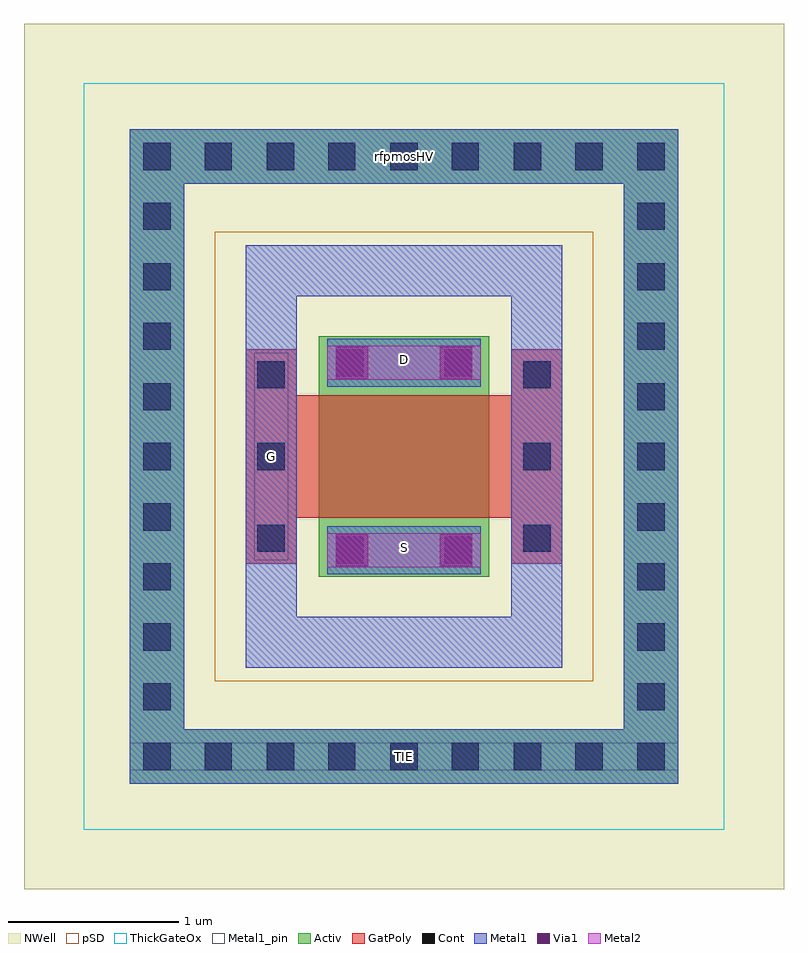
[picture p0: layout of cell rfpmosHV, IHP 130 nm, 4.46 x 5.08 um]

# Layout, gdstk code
import gdstk
lib = gdstk.Library(unit=1e-6, precision=1e-09)
def R(c, l, rs):  # rectangles x0, y0, x1, y1
    for r in rs: c.add(gdstk.rectangle(r[:2], r[2:], *l))
def A(c, l, x, y, w, h, nx, ny, dx, dy):  # array of equal rectangles
    R(c, l, [(x+i*dx, y+j*dy, x+i*dx+w, y+j*dy+h) for i in range(nx) for j in range(ny)])
def P(c, l, *ps):  # polygons
    for p in ps: c.add(gdstk.Polygon(p, *l))
Activ = (1, 0)
GatPoly = (5, 0)
Cont = (6, 0)
Metal1 = (8, 0)
Metal1_pin = (8, 2)
Metal2 = (10, 0)
pSD = (14, 0)
Via1 = (19, 0)
NWell = (31, 0)
ThickGateOx = (44, 0)

rfpmoshv = lib.new_cell('rfpmosHV')
R(rfpmoshv, Activ, [(1.73,1.835,2.73,3.245)])
P(rfpmoshv, Activ, [(0.62,0.62),(0.62,4.46),(3.52,4.46),(3.52,4.14),(0.94,4.14),(0.94,0.94),(3.52,0.94),(3.52,4.46),(3.84,4.46),(3.84,0.62)])
P(rfpmoshv, GatPoly, [(1.3,1.91),(1.3,3.17),(1.6,3.17),(1.6,2.9),(2.86,2.9),(2.86,3.17),(3.16,3.17),(3.16,1.91),(2.86,1.91),(2.86,2.18),(1.6,2.18),(1.6,1.91)])
A(rfpmoshv, Cont, 0.7, 0.7, 0.16, 0.16, 1, 3, 0, 0.35)
A(rfpmoshv, Cont, 3.6, 0.7, 0.16, 0.16, 1, 3, 0, 0.35)
A(rfpmoshv, Cont, 1.37, 1.98, 0.16, 0.16, 1, 3, 0, 0.48)
A(rfpmoshv, Cont, 2.93, 1.98, 0.16, 0.16, 1, 3, 0, 0.48)
R(rfpmoshv, Cont, [(1.06,0.7,1.22,0.86), (1.425,0.7,1.585,0.86), (1.785,0.7,1.945,0.86), (2.15,0.7,2.31,0.86), (2.51,0.7,2.67,0.86), (2.875,0.7,3.035,0.86), (3.235,0.7,3.395,0.86), (0.7,1.755,0.86,1.915), (3.6,1.755,3.76,1.915), (1.83,1.91,1.99,2.07), (2.47,1.91,2.63,2.07), (0.7,2.105,0.86,2.265), (3.6,2.105,3.76,2.265), (0.7,2.46,0.86,2.62), (3.6,2.46,3.76,2.62), (0.7,2.81,0.86,2.97), (3.6,2.81,3.76,2.97), (1.83,3.01,1.99,3.17), (2.47,3.01,2.63,3.17), (0.7,3.165,0.86,3.325), (3.6,3.165,3.76,3.325), (0.7,3.515,0.86,3.675), (3.6,3.515,3.76,3.675), (0.7,3.87,0.86,4.03), (3.6,3.87,3.76,4.03), (0.7,4.22,0.86,4.38), (1.06,4.22,1.22,4.38), (1.425,4.22,1.585,4.38), (1.785,4.22,1.945,4.38), (2.15,4.22,2.31,4.38), (2.51,4.22,2.67,4.38), (2.875,4.22,3.035,4.38), (3.235,4.22,3.395,4.38), (3.6,4.22,3.76,4.38)])
R(rfpmoshv, Metal1, [(1.78,1.85,2.68,2.13), (1.35,1.93,1.55,3.15), (2.91,1.93,3.11,3.15), (1.78,2.95,2.68,3.23)])
P(rfpmoshv, Metal1, [(0.62,0.62),(0.62,4.46),(3.52,4.46),(3.52,4.14),(0.94,4.14),(0.94,0.94),(3.52,0.94),(3.52,4.46),(3.84,4.46),(3.84,0.62)],
  [(1.3,1.3),(1.3,3.78),(2.86,3.78),(2.86,3.48),(1.6,3.48),(1.6,1.6),(2.86,1.6),(2.86,3.78),(3.16,3.78),(3.16,1.3)])
R(rfpmoshv, Metal1_pin, [(0.62,0.7,3.84,0.86), (1.78,1.85,2.68,2.13), (1.35,1.93,1.55,3.15), (1.78,2.95,2.68,3.23)])
R(rfpmoshv, Metal2, [(1.78,1.89,2.68,2.09), (1.78,2.99,2.68,3.19)])
R(rfpmoshv, pSD, [(1.12,1.22,3.34,3.86)])
R(rfpmoshv, Via1, [(1.83,1.895,2.02,2.085), (2.44,1.895,2.63,2.085), (1.83,2.995,2.02,3.185), (2.44,2.995,2.63,3.185)])
R(rfpmoshv, NWell, [(0,0,4.46,5.08)])
R(rfpmoshv, ThickGateOx, [(0.35,0.35,4.11,4.73)])
rfpmoshv.add(gdstk.Label('TIE', (2.23,0.78), layer=63, texttype=0))
rfpmoshv.add(gdstk.Label('rfpmosHV', (2.23,4.3), layer=63, texttype=0))
rfpmoshv.add(gdstk.Label('G', (1.45,2.54), layer=63, texttype=0))
rfpmoshv.add(gdstk.Label('D', (2.23,3.108), layer=63, texttype=0))
rfpmoshv.add(gdstk.Label('S', (2.23,2.008), layer=63, texttype=0))

lib.write_gds('rfpmosHV.gds')
